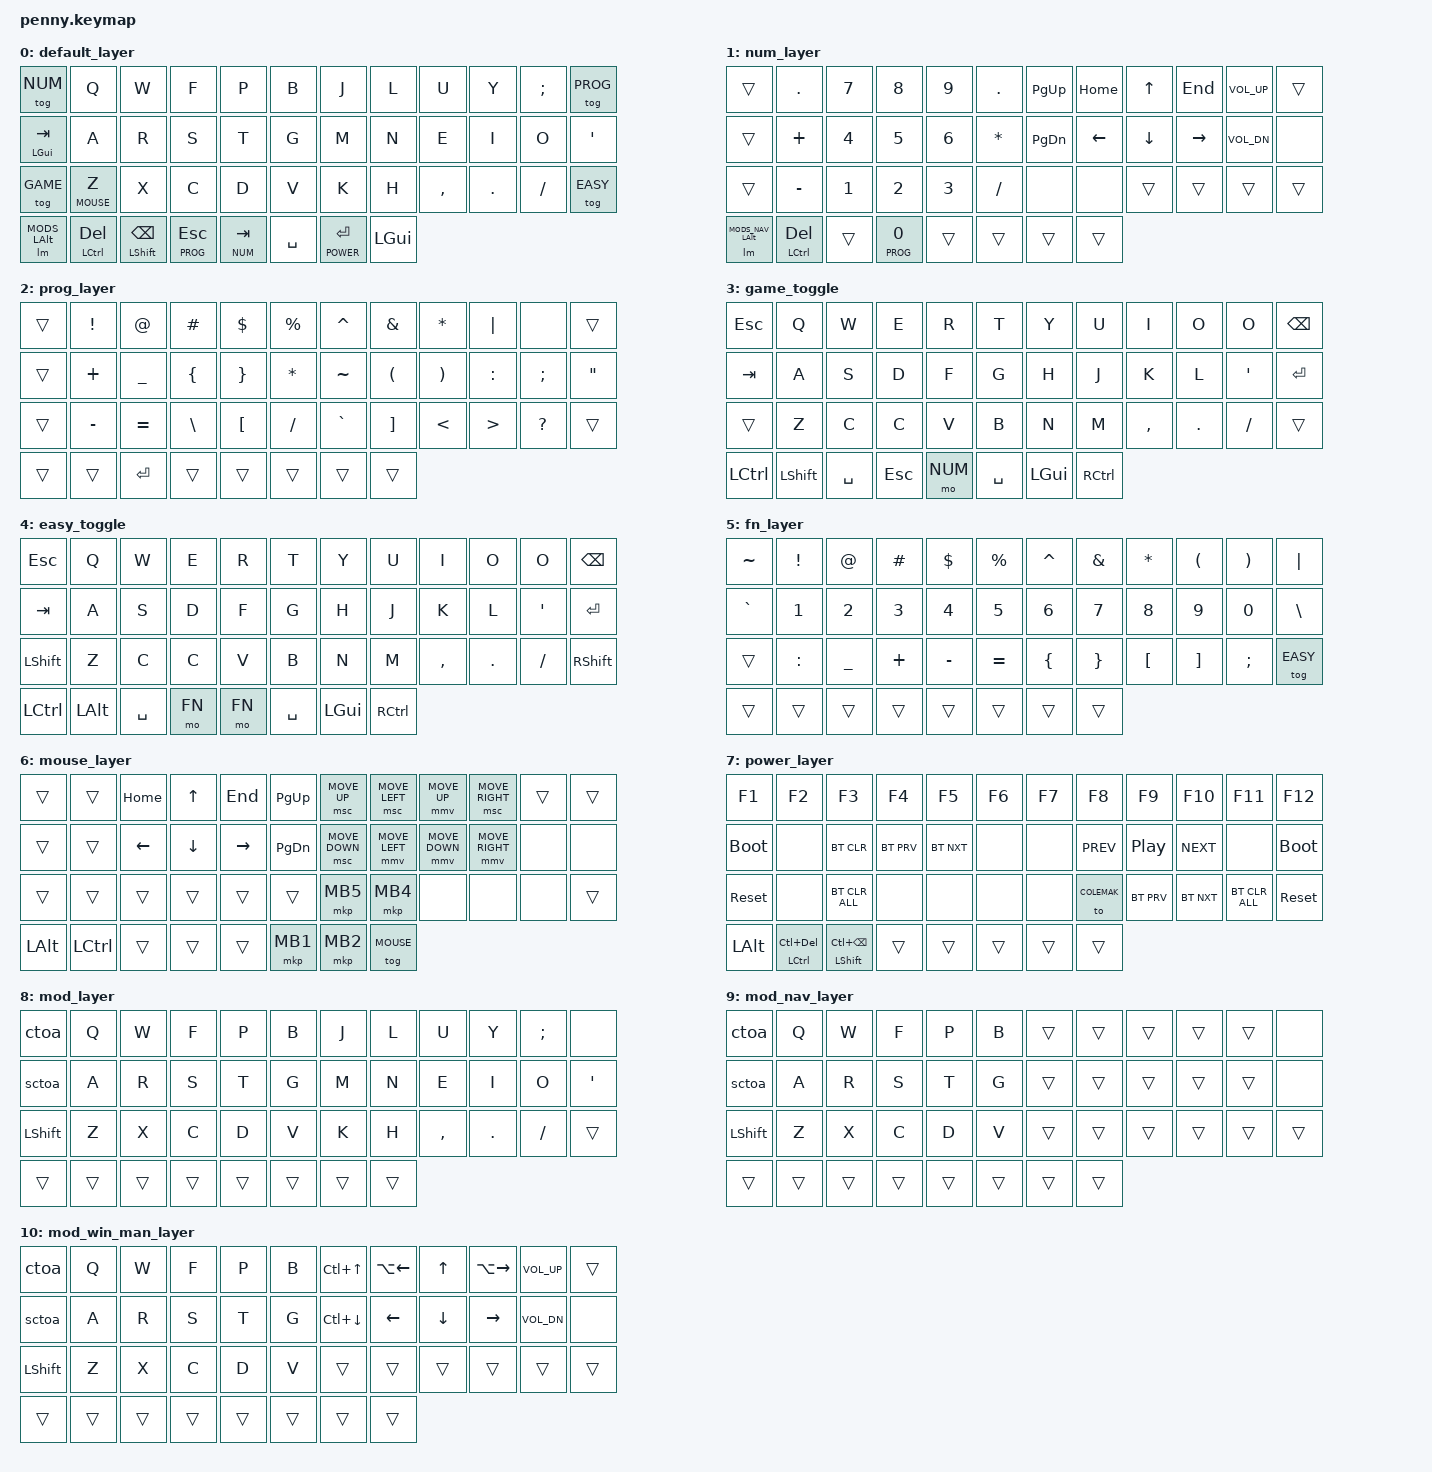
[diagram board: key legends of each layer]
#include <behaviors.dtsi>
#include <behaviors/mouse_keys.dtsi>
#include <dt-bindings/zmk/keys.h>
#include <dt-bindings/zmk/bt.h>
#include <dt-bindings/zmk/ext_power.h>
#include <dt-bindings/zmk/mouse.h>
#include <dt-bindings/zmk/outputs.h>
#include <dt-bindings/zmk/pointing.h>

#define COLEMAK  0
#define NUM      1
#define PROG     2
#define GAME     3
#define EASY     4
#define FN       5
#define MOUSE    6
#define POWER    7
#define MODS     8
#define MODS_NAV 9
#define MODS_WIN_MAN 10

#define WIN_L LG(LC(LEFT))
#define WIN_R RG(RC(RIGHT))

&mmv {
        acceleration-exponent = <2>;  // 1
        time-to-max-speed-ms = <64>; // 300
        delay-ms = <0>;
        trigger-period-ms = <16>;      // 16
};

&msc {
        acceleration-exponent = <1>;  // 0
        time-to-max-speed-ms = <300>;  // 300
        delay-ms = <0>;
        trigger-period-ms = <16>;      // 16
};

/ {
        macros {
                ctoa: ctrl_to_alt {
                        compatible = "zmk,behavior-macro";
                        wait-ms = <0>;
                        tap-ms = <0>;
                        #binding-cells = <0>;
                        bindings
                                = <&macro_release &kp LCTRL>
                                , <&macro_press &atab>     
                                , <&macro_release &atab>
                                ;
                };

                sctoa: shift_ctrl_to_alt {      
                        compatible = "zmk,behavior-macro";
                        wait-ms = <0>;
                        tap-ms = <0>;
                        #binding-cells = <0>;
                        bindings
                                = <&macro_release &kp LCTRL>
                                , <&macro_press &astab>     
                                , <&macro_release &astab>
                                ;
                };

                lm: lm {
                        compatible = "zmk,behavior-macro-two-param";
                        wait-ms = <0>;
                        tap-ms = <0>;
                        #binding-cells = <2>;
                        bindings
                                = <&macro_param_1to1>
                                , <&macro_press &mo MACRO_PLACEHOLDER>
                                , <&macro_param_2to1>
                                , <&macro_press &kp MACRO_PLACEHOLDER>
                                , <&macro_pause_for_release>
                                , <&macro_param_2to1>
                                , <&macro_release &kp MACRO_PLACEHOLDER>
                                , <&macro_param_1to1>
                                , <&macro_release &mo MACRO_PLACEHOLDER>
                                ;
                };

                lmm: lmm {
                        compatible = "zmk,behavior-macro-one-param";
                        wait-ms = <0>;
                        tap-ms = <0>;
                        #binding-cells = <1>;
                        bindings
                                = <&macro_press &mo MODS>
                                , <&macro_param_1to1>
                                , <&macro_press &kp MACRO_PLACEHOLDER>
                                , <&macro_pause_for_release>
                                , <&macro_param_1to1>
                                , <&macro_release &kp MACRO_PLACEHOLDER>
                                , <&macro_release &mo MODS>
                                ;
                };

                lmmn: lmmn {
                        compatible = "zmk,behavior-macro-one-param";
                        wait-ms = <0>;
                        tap-ms = <0>;
                        #binding-cells = <1>;
                        bindings
                                = <&macro_press &mo MODS_NAV>
                                , <&macro_param_1to1>
                                , <&macro_press &kp MACRO_PLACEHOLDER>
                                , <&macro_pause_for_release>
                                , <&macro_param_1to1>
                                , <&macro_release &kp MACRO_PLACEHOLDER>
                                , <&macro_release &mo MODS_NAV>
                                ;
                };

                wm: wm {
                        compatible = "zmk,behavior-macro-one-param";
                        wait-ms = <0>;
                        tap-ms = <0>;
                        #binding-cells = <1>;
                        bindings
                                = <&macro_press &mo MODS_WIN_MAN>
                                , <&macro_param_1to1>
                                , <&macro_press &kp MACRO_PLACEHOLDER>
                                , <&macro_pause_for_release>
                                , <&macro_param_1to1>
                                , <&macro_release &kp MACRO_PLACEHOLDER>
                                , <&macro_release &mo MODS_WIN_MAN>
                                ;
                };

        };
        
        behaviors {
                kt_on: key_toggle_on_only {
                        compatible = "zmk,behavior-key-toggle";
                        #binding-cells = <1>;
                        display-name = "Key Toggle On";
                        toggle-mode = "on";
                }; 
                kt_off: key_toggle_off_only {
                        compatible = "zmk,behavior-key-toggle";
                        #binding-cells = <1>;
                        display-name = "Key Toggle Off";
                        toggle-mode = "off";
                };


                atab: alt_tab {
                        compatible = "zmk,behavior-tri-state";
                        #binding-cells = <0>;
                        bindings = <&kt_on LALT>, <&kp TAB>, <&kt_off LALT>;
                        ignored-key-positions = <12>;
                };


                astab: alt_shift_tab {
                        compatible = "zmk,behavior-tri-state";
                        #binding-cells = <0>;
                        bindings = <&kt_on LALT>, <&kp LS(TAB)>, <&kt_off LALT>;
                        ignored-key-positions = <0>;

                };
                

                ltt: layer_tap_tap_custom {
                        compatible = "zmk,behavior-hold-tap";
                        #binding-cells = <2>;
                        tapping-term-ms = <200>;    // <---[[moderate duration]]
                        quick-tap-ms = <175>;
                        require-prior-idle-ms = <150>;
                        flavor = "tap-preferred";
                        bindings = <&mo>, <&kp>;
                };
        
                ltc: layer_tap_custom {
                        compatible = "zmk,behavior-hold-tap";
                        #binding-cells = <2>;
                        tapping-term-ms = <200>;    // <---[[moderate duration]]
                        quick-tap-ms = <200>;
                        flavor = "hold-preferred";
                        bindings = <&mo>, <&kp>;
                };

                lmt: layer_mod_tap {
                        compatible = "zmk,behavior-hold-tap";
                        #binding-cells = <2>;
                        tapping-term-ms = <200>;    // <---[[moderate duration]]
                        quick-tap-ms = <200>;
                        flavor = "hold-preferred";
                        bindings = <&lmm>, <&kp>;
                };

                lmnt: layer_mod_nav_tap {
                        compatible = "zmk,behavior-hold-tap";
                        #binding-cells = <2>;
                        tapping-term-ms = <200>;    // <---[[moderate duration]]
                        quick-tap-ms = <200>;
                        flavor = "hold-preferred";
                        bindings = <&lmmn>, <&kp>;
                };
                
                wmt: layer_mod_win_man_tap {
                        compatible = "zmk,behavior-hold-tap";
                        #binding-cells = <2>;
                        tapping-term-ms = <200>;    // <---[[moderate duration]]
                        quick-tap-ms = <200>;
                        flavor = "tap-preferred";
                        bindings = <&wm>, <&kp>;
                };

                mtc: mod_tap_custom {
                        compatible = "zmk,behavior-hold-tap";
                        #binding-cells = <2>;
                        tapping-term-ms = <200>;    // <---[[moderate duration]]
                        quick-tap-ms = <200>;
                        flavor = "hold-preferred";
                        bindings = <&kp>, <&kp>;
                };
        };

        keymap {
                compatible = "zmk,keymap";

                default_layer {
// -------------------------------------------------------------------------------------
// | NUML |  Q  |  W  |  E  |  R  |  T  |        |  Y  |  U   |  I  |  O  |  P  | PRGL |
// | TAB  |  A  |  S  |  D  |  F  |  G  |        |  H  |  J   |  K  |  L  |  ;  |  '   |
// | EASY |  Zm |  X  |  C  |  V  |  B  |        |  N  |  M   |  ,  |  .  |  /  | GAME |
// | ALT  | DEL/LCTRL | BSPC/LSHFT | ESC/PROG |  | TAB/NUM | SPACE  | RET/POWER |  win |
                        bindings = <
   &tog NUM      &kp Q        &kp W          &kp F          &kp P           &kp B               &kp J        &kp L     &kp U          &kp Y   &kp SEMI &tog PROG
   &wmt LGUI TAB &kp A        &kp R          &kp S          &kp T           &kp G               &kp M        &kp N     &kp E          &kp I   &kp O    &kp SQT
   &tog GAME     &ltt MOUSE Z &kp X          &kp C          &kp D           &kp V               &kp K        &kp H     &kp COMMA      &kp DOT &kp FSLH &tog EASY
                               &lm MODS LALT &lmt LCTRL DEL &mtc LSHFT BSPC &ltc PROG ESC       &ltc NUM TAB &kp SPACE &ltc POWER RET &kp LGUI 
                        >;
                };

                num_layer {
                        bindings = <
   &trans &kp DOT   &kp N7            &kp N8          &kp N9 &kp DOT         &kp PG_UP &kp HOME &kp UP   &kp END   &kp C_VOL_UP &trans
   &trans &kp PLUS  &kp N4            &kp N5          &kp N6 &kp STAR        &kp PG_DN &kp LEFT &kp DOWN &kp RIGHT &kp C_VOL_DN &none
   &trans &kp MINUS &kp N1            &kp N2          &kp N3 &kp SLASH       &none     &none    &trans   &trans    &trans       &trans
                    &lm MODS_NAV LALT &lmnt LCTRL DEL &trans &ltc PROG N0    &trans    &trans   &trans   &trans
                        >;
                };

                prog_layer {
                        bindings = <
   &trans &kp EXCL  &kp AT    &kp HASH &kp DLLR  &kp PRCNT          &kp CARET &kp AMPS &kp STAR &kp PIPE  &none     &trans
   &trans &kp PLUS  &kp UNDER &kp LBRC &kp RBRC  &kp STAR           &kp TILDE &kp LPAR &kp RPAR &kp COLON &kp SEMI  &kp DQT
   &trans &kp MINUS &kp EQUAL &kp BSLH &kp LBKT  &kp SLASH          &kp GRAVE &kp RBKT &kp LT   &kp GT    &kp QMARK &trans
                    &trans    &trans   &kp ENTER &trans             &trans    &trans   &trans   &trans
                        >;
                };

                game_toggle {
                        bindings = <
   &kp ESC &kp Q &kp W     &kp E     &kp R     &kp T           &kp Y   &kp U     &kp I     &kp O     &kp O    &kp BSPC
   &kp TAB &kp A &kp S     &kp D     &kp F     &kp G           &kp H   &kp J     &kp K     &kp L     &kp SQT  &kp RET
   &trans  &kp Z &kp C     &kp C     &kp V     &kp B           &kp N   &kp M     &kp COMMA &kp DOT   &kp FSLH &trans
                 &kp LCTRL &kp LSHFT &kp SPACE &kp ESC         &mo NUM &kp SPACE &kp LGUI  &kp RCTRL
                        >;
                };
        
                easy_toggle {
// --------------------------------------              ---------------------------------------
// | ESC  |  Q  |  W  |  E  |  R  |  T  |              |  Y  |  U  |  I  |  O  |  P  | BSPC |
// | TAB  |  A  |  S  |  D  |  F  |  G  |              |  H  |  J  |  K  |  L  |  '  | ENTR |
// | SHFT |  Z  |  X  |  C  |  V  |  B  |              |  N  |  M  |  ,  |  .  |  /  | SHFT |
//                    | Ctr | Alt | Spc | Fn |    | Fn | Spc | Win | Ctr |
                        bindings = <
   &kp ESC   &kp Q &kp W     &kp E    &kp R     &kp T           &kp Y  &kp U     &kp I     &kp O     &kp O    &kp BSPC
   &kp TAB   &kp A &kp S     &kp D    &kp F     &kp G           &kp H  &kp J     &kp K     &kp L     &kp SQT  &kp RET
   &kp LSHFT &kp Z &kp C     &kp C    &kp V     &kp B           &kp N  &kp M     &kp COMMA &kp DOT   &kp FSLH &kp RSHFT
                   &kp LCTRL &kp LALT &kp SPACE &mo FN          &mo FN &kp SPACE &kp LGUI  &kp RCTRL
                        >;
                };

                fn_layer {
                        bindings = <
   &kp TILDE &kp EXCL  &kp AT    &kp HASH &kp DLLR  &kp PRCNT          &kp CARET &kp AMPS &kp STAR &kp LPAR &kp RPAR &kp PIPE
   &kp GRAVE &kp N1    &kp N2    &kp N3   &kp N4    &kp N5             &kp N6    &kp N7   &kp N8   &kp N9   &kp N0   &kp BSLH
   &trans    &kp COLON &kp UNDER &kp PLUS &kp MINUS &kp EQUAL          &kp LBRC  &kp RBRC &kp LBKT &kp RBKT &kp SEMI &tog EASY
                       &trans    &trans   &trans    &trans             &trans    &trans   &trans   &trans
                        >;
                };

                mouse_layer {
                        bindings = <
   &trans &trans &kp HOME &kp UP   &kp END   &kp PG_UP                 &msc MOVE_UP   &msc MOVE_LEFT &mmv MOVE_UP   &msc MOVE_RIGHT &trans &trans
   &trans &trans &kp LEFT &kp DOWN &kp RIGHT &kp PG_DN                 &msc MOVE_DOWN &mmv MOVE_LEFT &mmv MOVE_DOWN &mmv MOVE_RIGHT &none  &none
   &trans &trans &trans   &trans   &trans    &trans                    &mkp MB5 &mkp MB4       &none          &none           &none  &trans
                          &kp LALT &kp LCTRL &trans    &trans   &trans &mkp MB1 &mkp MB2 &tog MOUSE    
                        >;
                };

                power_layer {
                        bindings = <
   &kp F1      &kp F2 &kp F3         &kp F4        &kp F5             &kp F6                       &kp F7 &kp F8      &kp F9     &kp F10    &kp F11        &kp F12             
   &bootloader &none  &bt BT_CLR     &bt BT_PRV    &bt BT_NXT         &none                        &none  &kp C_PREV  &kp C_PP   &kp C_NEXT &none          &bootloader
   &sys_reset  &none  &bt BT_CLR_ALL &none         &none              &none                        &none  &to COLEMAK &bt BT_PRV &bt BT_NXT &bt BT_CLR_ALL &sys_reset
                                     &kp LALT      &lmt LCTRL LC(DEL) &mtc LSHFT LC(BSPC) &trans   &trans &trans &trans      &trans             
                        >;
                };

                mod_layer {
                        bindings = <
   &ctoa      &kp Q &kp W &kp F  &kp P  &kp B                  &kp J  &kp L  &kp U     &kp Y   &kp SEMI &none
   &sctoa     &kp A &kp R &kp S  &kp T  &kp G                  &kp M  &kp N  &kp E     &kp I   &kp O    &kp SQT
   &kp LSHFT  &kp Z &kp X &kp C  &kp D  &kp V                  &kp K  &kp H  &kp COMMA &kp DOT &kp FSLH &trans
                         &trans &trans &trans &trans   &trans &trans &trans &trans
                        >;
                };

                mod_nav_layer {
                        bindings = <
   &ctoa      &kp Q &kp W &kp F  &kp P  &kp B                  &trans &trans &trans &trans &trans &none
   &sctoa     &kp A &kp R &kp S  &kp T  &kp G                  &trans &trans &trans &trans &trans &none
   &kp LSHFT  &kp Z &kp X &kp C  &kp D  &kp V                  &trans &trans &trans &trans &trans &trans
                         &trans &trans &trans &trans   &trans &trans &trans &trans
                        >;
                };
                
                mod_win_man_layer {
                        bindings = <
   &ctoa      &kp Q &kp W &kp F  &kp P  &kp B                  &kp LC(UP)   &kp LA(LEFT) &kp UP   &kp LA(RIGHT) &kp C_VOL_UP &trans
   &sctoa     &kp A &kp R &kp S  &kp T  &kp G                  &kp LC(DOWN) &kp LEFT     &kp DOWN &kp RIGHT     &kp C_VOL_DN &none
   &kp LSHFT  &kp Z &kp X &kp C  &kp D  &kp V                  &trans       &trans       &trans   &trans        &trans       &trans
                         &trans &trans &trans &trans   &trans &trans &trans &trans
                        >;
                };
        };
};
